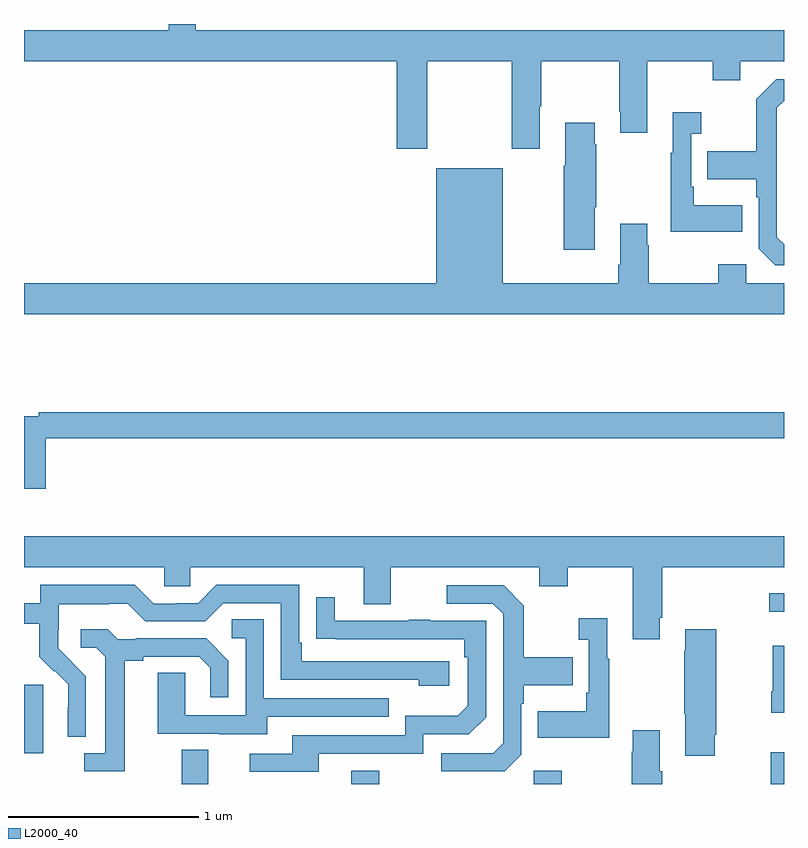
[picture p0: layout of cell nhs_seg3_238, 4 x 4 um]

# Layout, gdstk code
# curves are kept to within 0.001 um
import gdstk
lib = gdstk.Library(unit=1e-6, precision=1e-09)
def R(c, l, rs):  # rectangles x0, y0, x1, y1
    for r in rs: c.add(gdstk.rectangle(r[:2], r[2:], *l))
def P(c, l, *ps):  # polygons
    for p in ps: c.add(gdstk.Polygon(p, *l))
L2000_40 = (2000, 40)

nhs_seg3_238 = lib.new_cell('nhs_seg3_238')
R(nhs_seg3_238, L2000_40, [(121.829,742.4,121.969,742.58), (122.723,742.4,122.871,742.471), (123.684,742.4,123.831,742.471), (124.931,742.4,125,742.567), (121,742.562,121.102,742.923), (124.923,743.307,125,743.404)])
P(nhs_seg3_238, L2000_40, [(123.123,746.204),(123.568,746.204),(123.568,745.743),(123.715,745.743),(123.715,745.966),(123.723,745.966),(123.723,746.204),(124.132,746.204),(124.132,745.939),(124.139,745.939),(124.139,745.827),(124.279,745.827),(124.279,746.204),(124.624,746.204),(124.624,746.105),(124.771,746.105),(124.771,746.204),(125,746.204),(125,746.368),(121.903,746.368),(121.903,746.4),(121.763,746.4),(121.763,746.368),(121,746.368),(121,746.204),(122.963,746.204),(122.963,745.743),(123.123,745.743)],
  [(125,745.24),(124.962,745.278),(124.962,745.959),(125,745.997),(125,746.109),(124.959,746.109),(124.854,746.003),(124.854,745.731),(124.597,745.731),(124.597,745.583),(124.854,745.583),(124.854,745.487),(124.866,745.487),(124.866,745.218),(124.953,745.131),(125,745.131)],
  [(124.781,745.447),(124.525,745.447),(124.525,745.543),(124.512,745.543),(124.512,745.823),(124.564,745.823),(124.564,745.936),(124.415,745.936),(124.415,745.723),(124.404,745.723),(124.404,745.307),(124.781,745.307)],
  [(124.003,745.435),(124.011,745.435),(124.011,745.766),(124.003,745.766),(124.003,745.879),(123.848,745.879),(123.848,745.655),(123.841,745.655),(123.841,745.212),(124.003,745.212)],
  [(125,745.036),(124.8,745.036),(124.8,745.135),(124.654,745.135),(124.654,745.036),(124.287,745.036),(124.287,745.235),(124.279,745.235),(124.279,745.348),(124.139,745.348),(124.139,745.132),(124.127,745.132),(124.127,745.036),(123.52,745.036),(123.52,745.642),(123.17,745.642),(123.17,745.036),(121,745.036),(121,744.872),(125,744.872)],
  [(121.115,744.22),(125,744.22),(125,744.356),(121.078,744.356),(121.078,744.336),(121,744.336),(121,743.955),(121.115,743.955)],
  [(124.345,743.275),(124.358,743.275),(124.358,743.54),(125,743.54),(125,743.704),(121,743.704),(121,743.54),(121.737,743.54),(121.737,743.442),(121.875,743.442),(121.875,743.54),(122.789,743.54),(122.789,743.346),(122.929,743.346),(122.929,743.54),(123.713,743.54),(123.713,743.441),(123.861,743.441),(123.861,743.54),(124.205,743.54),(124.205,743.163),(124.345,743.163)],
  [(121.326,742.966),(121.18,743.114),(121.18,743.211),(121.182,743.211),(121.182,743.345),(121.445,743.345),(121.445,743.349),(121.545,743.349),(121.638,743.256),(121.953,743.256),(122.049,743.352),(122.352,743.352),(122.352,742.95),(123.077,742.95),(123.077,742.916),(123.238,742.916),(123.238,743.046),(122.461,743.046),(122.461,743.143),(122.448,743.143),(122.448,743.448),(122.013,743.448),(121.917,743.352),(121.799,743.352),(121.799,743.349),(121.683,743.349),(121.583,743.449),(121.086,743.449),(121.086,743.352),(121,743.352),(121,743.244),(121.081,743.244),(121.081,743.069),(121.158,742.992),(121.161,742.995),(121.232,742.925),(121.232,742.802),(121.23,742.802),(121.23,742.648),(121.326,742.648)],
  [(123.618,742.554),(123.618,742.823),(123.631,742.823),(123.631,742.919),(123.887,742.919),(123.887,743.067),(123.631,743.067),(123.631,743.339),(123.525,743.445),(123.225,743.445),(123.225,743.349),(123.468,743.349),(123.522,743.295),(123.522,742.614),(123.471,742.563),(123.195,742.563),(123.195,742.467),(123.531,742.467)],
  [(122.551,742.56),(123.102,742.56),(123.102,742.662),(123.342,742.662),(123.432,742.752),(123.432,743.259),(123.137,743.259),(123.137,743.264),(123.025,743.264),(123.025,743.259),(122.635,743.259),(122.635,743.383),(122.539,743.383),(122.539,743.164),(123.316,743.163),(123.316,743.066),(123.336,743.066),(123.336,742.812),(123.283,742.759),(123.006,742.759),(123.006,742.656),(122.411,742.656),(122.411,742.56),(122.187,742.56),(122.187,742.464),(122.551,742.464)],
  [(124.081,743.059),(124.069,743.059),(124.069,743.272),(123.921,743.272),(123.921,743.159),(123.972,743.159),(123.972,742.879),(123.96,742.879),(123.96,742.783),(123.703,742.783),(123.703,742.643),(124.081,742.643)],
  [(122.281,742.755),(122.921,742.755),(122.921,742.851),(122.262,742.851),(122.262,743.267),(122.094,743.267),(122.094,743.166),(122.166,743.166),(122.166,742.761),(121.848,742.761),(121.848,742.985),(121.703,742.985),(121.703,742.665),(122.027,742.665),(122.027,742.661),(122.281,742.661)],
  [(124.636,742.66),(124.644,742.66),(124.644,743.215),(124.481,743.215),(124.481,743.102),(124.474,743.102),(124.474,742.771),(124.481,742.771),(124.481,742.548),(124.636,742.548)],
  [(121.531,743.048),(121.627,743.048),(121.627,743.07),(121.922,743.07),(121.979,743.013),(121.979,742.857),(122.076,742.857),(122.076,743.05),(121.96,743.166),(121.588,743.166),(121.588,743.163),(121.494,743.163),(121.442,743.215),(121.299,743.215),(121.299,743.118),(121.38,743.118),(121.427,743.071),(121.427,742.563),(121.317,742.563),(121.317,742.467),(121.531,742.467)],
  [(125,743.128),(124.94,743.128),(124.94,742.888),(124.933,742.888),(124.933,742.776),(125,742.776)],
  [(124.358,742.468),(124.345,742.468),(124.345,742.684),(124.205,742.684),(124.205,742.571),(124.198,742.571),(124.198,742.4),(124.358,742.4)])

lib.write_gds('nhs_seg3_238.gds')
